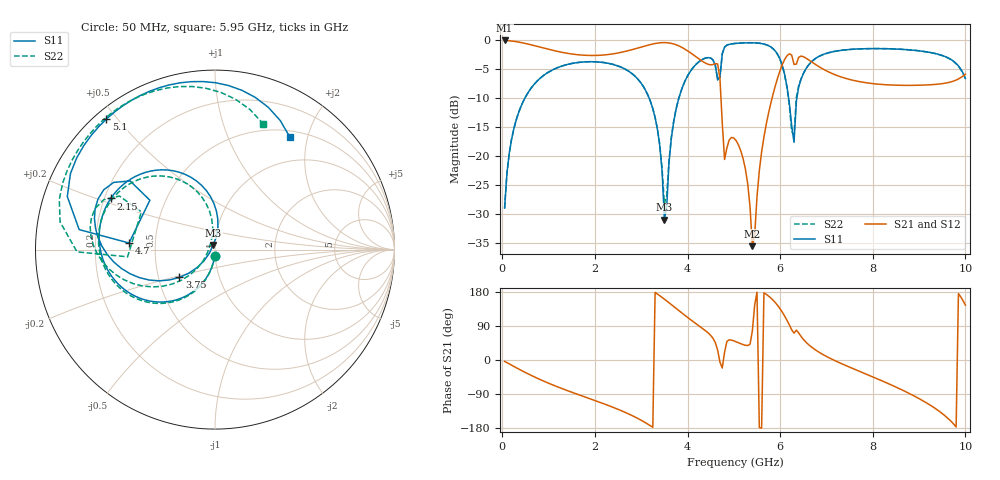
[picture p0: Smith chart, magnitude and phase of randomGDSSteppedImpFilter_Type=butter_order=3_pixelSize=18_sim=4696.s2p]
! freq	dB(S11)	phase(S11)	dB(S12)	phase(S12)
!  dB(S21)	phase(S21)	dB(S22)	phase(S22)
!S-par simulation data
#  GHz  S  DB  R 50
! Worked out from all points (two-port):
!   200 points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, 50 MHz to 10 GHz, reference 50 ohm
!   highest |S21| = -0.01 dB at 50 MHz (marker M1); lowest = -35.5 dB at 5.4 GHz (marker M2)
!   |S21| within 3 dB of the highest: start of sweep to 4.214 GHz; 6.119 GHz to 6.264 GHz (145.4 MHz wide, 2.35 % of centre) (the widest 2 of 3)
!   lowest |S11| = -31.0 dB at 3.5 GHz (marker M3), VSWR 1.06, Z = 48.9 + j2.59 ohm
!   |S11| at or under -10 dB: start of sweep to 486.2 MHz; 3.172 GHz to 3.813 GHz (640.4 MHz wide, 18.3 % of centre); 6.184 GHz to 6.361 GHz (176.8 MHz wide, 2.82 % of centre)
!   |S22| runs from -29.0 to -0.4 dB; largest |S21 - S12| = 0
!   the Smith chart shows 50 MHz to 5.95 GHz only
!   S11 on the Smith chart (normalised r, x): 50 MHz: 0.99, -0.07; 2.15 GHz: 0.23, +0.22; 3.75 GHz: 0.64, -0.21; 4.7 GHz: 0.35, +0.03; 5.1 GHz: 0.03, +0.47; 5.95 GHz: 0.59, +1.71
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0.05  -28.95 -93.6  -0.01 -3.5  -0.01 -3.5  -28.95 -93.5
0.5  -9.78 -124.1  -0.53 -33.1  -0.53 -33.1  -9.78 -123.2
1.75  -3.72 171.7  -2.55 -96.1  -2.55 -96.1  -3.72 175.4
2.15  -3.78 153.9  -2.54 -113.6  -2.54 -113.6  -3.78 158.4
3  -7.41 108.6  -1.15 -159.1  -1.15 -159.1  -7.41 116.0
3.4  -18.14 82.5  -0.42 169.7  -0.42 169.7  -17.99 95.9
3.5  -30.95 111.0  -0.38 160.6  -0.38 160.6  -28.18 132.1
3.75  -12.00 -142.0  -0.74 136.5  -0.74 136.5  -11.93 -137.7
4.5  -3.05 151.7  -4.22 64.9  -4.22 64.9  -3.04 160.8
4.7  -6.37 175.6  -6.59 -5.6  -6.59 -5.6  -6.22 -175.3
4.8  -1.17 160.2  -20.55 20.5  -20.55 20.5  -1.14 169.9
5.05  -0.51 133.4  -17.31 47.9  -17.31 47.9  -0.50 144.1
5.1  -0.48 129.8  -18.05 45.4  -18.05 45.4  -0.47 140.6
5.4  -0.41 109.1  -35.52 77.1  -35.52 77.1  -0.41 120.9
5.95  -2.46 56.4  -6.37 143.3  -6.37 143.3  -2.48 69.2
6.3  -17.61 -91.7  -4.15 70.8  -4.15 70.8  -16.27 -94.3
6.4  -8.05 151.3  -2.92 71.5  -2.92 71.5  -7.83 166.0
6.7  -3.51 109.8  -3.82 32.0  -3.82 32.0  -3.52 127.1
7.45  -1.60 63.4  -6.64 -16.3  -6.64 -16.3  -1.60 83.0
8.35  -1.45 16.4  -7.69 -63.1  -7.69 -63.1  -1.44 37.6
9.25  -2.10 -40.9  -7.66 -119.9  -7.66 -119.9  -2.10 -21.5
10  -6.57 -131.3  -5.85 144.8  -5.85 144.8  -6.62 -119.9
